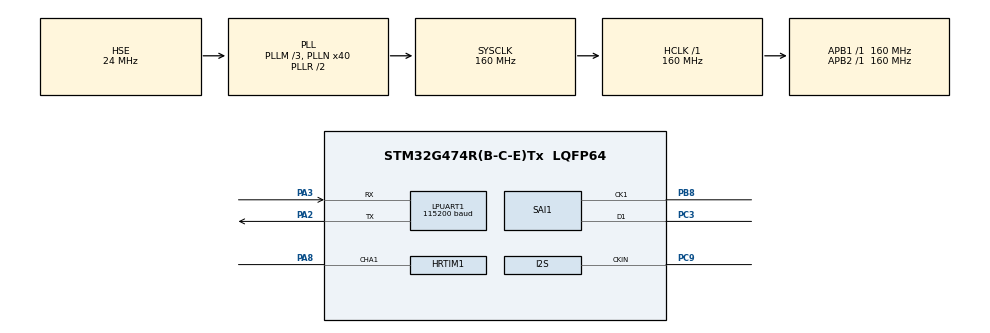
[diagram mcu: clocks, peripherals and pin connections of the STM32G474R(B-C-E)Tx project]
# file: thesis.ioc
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Dma.LPUART1_RX.1.Direction=DMA_PERIPH_TO_MEMORY
Dma.LPUART1_RX.1.EventEnable=DISABLE
Dma.LPUART1_RX.1.Instance=DMA1_Channel2
Dma.LPUART1_RX.1.MemDataAlignment=DMA_MDATAALIGN_BYTE
Dma.LPUART1_RX.1.MemInc=DMA_MINC_ENABLE
Dma.LPUART1_RX.1.Mode=DMA_CIRCULAR
Dma.LPUART1_RX.1.PeriphDataAlignment=DMA_PDATAALIGN_BYTE
Dma.LPUART1_RX.1.PeriphInc=DMA_PINC_DISABLE
Dma.LPUART1_RX.1.Polarity=HAL_DMAMUX_REQ_GEN_RISING
Dma.LPUART1_RX.1.Priority=DMA_PRIORITY_VERY_HIGH
Dma.LPUART1_RX.1.RequestNumber=1
Dma.LPUART1_RX.1.SignalID=NONE
Dma.LPUART1_RX.1.SyncEnable=DISABLE
Dma.LPUART1_RX.1.SyncPolarity=HAL_DMAMUX_SYNC_NO_EVENT
Dma.LPUART1_RX.1.SyncRequestNumber=1
Dma.LPUART1_RX.1.SyncSignalID=NONE
Dma.LPUART1_TX.2.Direction=DMA_MEMORY_TO_PERIPH
Dma.LPUART1_TX.2.EventEnable=DISABLE
Dma.LPUART1_TX.2.Instance=DMA1_Channel3
Dma.LPUART1_TX.2.MemDataAlignment=DMA_MDATAALIGN_BYTE
Dma.LPUART1_TX.2.MemInc=DMA_MINC_ENABLE
Dma.LPUART1_TX.2.Mode=DMA_NORMAL
Dma.LPUART1_TX.2.PeriphDataAlignment=DMA_PDATAALIGN_BYTE
Dma.LPUART1_TX.2.PeriphInc=DMA_PINC_DISABLE
Dma.LPUART1_TX.2.Polarity=HAL_DMAMUX_REQ_GEN_RISING
Dma.LPUART1_TX.2.Priority=DMA_PRIORITY_VERY_HIGH
Dma.LPUART1_TX.2.RequestNumber=1
Dma.LPUART1_TX.2.SignalID=NONE
Dma.LPUART1_TX.2.SyncEnable=DISABLE
Dma.LPUART1_TX.2.SyncPolarity=HAL_DMAMUX_SYNC_NO_EVENT
Dma.LPUART1_TX.2.SyncRequestNumber=1
Dma.LPUART1_TX.2.SyncSignalID=NONE
Dma.Request0=SAI1_A
Dma.Request1=LPUART1_RX
Dma.Request2=LPUART1_TX
Dma.SAI1_A.0.Direction=DMA_PERIPH_TO_MEMORY
Dma.SAI1_A.0.EventEnable=DISABLE
Dma.SAI1_A.0.Instance=DMA1_Channel1
Dma.SAI1_A.0.MemDataAlignment=DMA_MDATAALIGN_HALFWORD
Dma.SAI1_A.0.MemInc=DMA_MINC_ENABLE
Dma.SAI1_A.0.Mode=DMA_CIRCULAR
Dma.SAI1_A.0.PeriphDataAlignment=DMA_PDATAALIGN_HALFWORD
Dma.SAI1_A.0.PeriphInc=DMA_PINC_DISABLE
Dma.SAI1_A.0.Polarity=HAL_DMAMUX_REQ_GEN_RISING
Dma.SAI1_A.0.Priority=DMA_PRIORITY_MEDIUM
Dma.SAI1_A.0.RequestNumber=1
Dma.SAI1_A.0.SignalID=NONE
Dma.SAI1_A.0.SyncEnable=DISABLE
Dma.SAI1_A.0.SyncPolarity=HAL_DMAMUX_SYNC_NO_EVENT
Dma.SAI1_A.0.SyncRequestNumber=1
Dma.SAI1_A.0.SyncSignalID=NONE
FREERTOS.Tasks01=defaultTask,24,128,StartDefaultTask,Default,NULL,Dynamic,NULL,NULL
FREERTOS.configENABLE_FPU=1
FREERTOS.configTOTAL_HEAP_SIZE=20480
HRTIM1.CompareUnit1-Output_TA1=HRTIM_COMPAREUNIT_1
HRTIM1.CompareValue1-Output_TA1=1250
HRTIM1.NumberResetSource1-Output_TA1=1
HRTIM1.NumberSetSource1-Output_TA1=1
HRTIM1.Periode_TA=PERIOD
HRTIM1.ResetOutput1_Source1-Output_TA1=HRTIM_OUTPUTRESET_TIMCMP1
HRTIM1.SetOutput1_Source1-Output_TA1=HRTIM_OUTPUTSET_TIMPER
LPUART1.BaudRate=115200
Mcu.Family=STM32G4
Mcu.Name=STM32G474R(B-C-E)Tx
Mcu.Package=LQFP64
Mcu.UserConstants=TIMA_DUTY_CYCLE,0.5;PERIOD,2500
NUCLEO-G474RE.BUTTON=1
NUCLEO-G474RE.LD2=true
NUCLEO-G474RE.VCP=false
NVIC.DMA1_Channel1_IRQn=true\:5\:0\:true\:false\:true\:true\:false\:true\:true
NVIC.DMA1_Channel2_IRQn=true\:5\:0\:false\:false\:true\:true\:false\:true\:true
NVIC.DMA1_Channel3_IRQn=true\:5\:0\:false\:false\:true\:true\:false\:true\:true
NVIC.EXTI15_10_IRQn=true\:5\:0\:false\:false\:true\:true\:false\:true\:true
NVIC.LPUART1_IRQn=true\:5\:0\:false\:false\:true\:true\:true\:true\:true
NVIC.PriorityGroup=NVIC_PRIORITYGROUP_4
NVIC.TIM6_DAC_IRQn=true\:5\:0\:false\:false\:true\:true\:true\:true\:true
NVIC.TIM7_DAC_IRQn=true\:15\:0\:false\:false\:true\:false\:false\:true\:true
NVIC.TimeBase=TIM7_DAC_IRQn
NVIC.TimeBaseIP=TIM7
PA13.GPIO_Label=T_SWDIO
PA13.Signal=SYS_JTMS-SWDIO
PA14.GPIO_Label=T_SWCLK
PA14.Signal=SYS_JTCK-SWCLK
PA2.Mode=Asynchronous
PA2.Signal=LPUART1_TX
PA3.Mode=Asynchronous
PA3.Signal=LPUART1_RX
PA8.GPIO_Speed_High_Default=GPIO_SPEED_FREQ_LOW
PA8.Mode=Output_TA1
PA8.Signal=HRTIM1_CHA1
PB3.GPIO_Label=T_SWO
PB3.Signal=SYS_JTDO-SWO
PB8-BOOT0.Mode=PDM_Master_Mode_CK1
PB8-BOOT0.Signal=SAI1_CK1
PC14-OSC32_IN.GPIO_Label=RCC_OSC32_IN
PC14-OSC32_IN.Mode=LSE-External-Oscillator
PC14-OSC32_IN.Signal=RCC_OSC32_IN
PC15-OSC32_OUT.GPIO_Label=RCC_OSC32_OUT
PC15-OSC32_OUT.Mode=LSE-External-Oscillator
PC15-OSC32_OUT.Signal=RCC_OSC32_OUT
PC3.Mode=PDM_Master_Mode_CK1
PC3.Signal=SAI1_D1
PC9.Mode=Audio_ClockIn
PC9.Signal=I2S_CKIN
PF0-OSC_IN.GPIO_Label=RCC_OSC_IN
PF0-OSC_IN.Mode=HSE-External-Oscillator
PF0-OSC_IN.Signal=RCC_OSC_IN
PF1-OSC_OUT.GPIO_Label=RCC_OSC_OUT
PF1-OSC_OUT.Mode=HSE-External-Oscillator
PF1-OSC_OUT.Signal=RCC_OSC_OUT
ProjectManager.HeapSize=0x200
ProjectManager.StackSize=0x400
ProjectManager.TargetToolchain=CMake
RCC.ADC12Freq_Value=160000000
RCC.ADC345Freq_Value=160000000
RCC.AHBFreq_Value=160000000
RCC.APB1Freq_Value=160000000
RCC.APB1TimFreq_Value=160000000
RCC.APB2Freq_Value=160000000
RCC.APB2TimFreq_Value=160000000
RCC.CortexFreq_Value=160000000
RCC.EXTERNAL_CLOCK_VALUE=2048000
RCC.HCLKFreq_Value=160000000
RCC.HSE_VALUE=24000000
RCC.HSI48_VALUE=48000000
RCC.HSI_VALUE=16000000
RCC.PLLM=RCC_PLLM_DIV3
RCC.PLLN=40
RCC.PLLQ=RCC_PLLQ_DIV8
RCC.PLLSourceVirtual=RCC_PLLSOURCE_HSE
RCC.RTCClockSelection=RCC_RTCCLKSOURCE_LSE
RCC.SAI1CLockSelection=RCC_SAI1CLKSOURCE_EXT
RCC.SYSCLKFreq_VALUE=160000000
RCC.SYSCLKSource=RCC_SYSCLKSOURCE_PLLCLK
RCC.USBFreq_Value=40000000
RCC.VCOOutputFreq_Value=320000000
SAI1.Activation=ENABLE
SAI1.AudioFrequency-PDM_Master_Mode_CK1=SAI_AUDIO_FREQUENCY_MCKDIV
SAI1.Instance-PDM_Master_Mode_CK1=SAI$Index_Block_A
SAI1.MckOutput-PDM_Master_Mode_CK1=SAI_MCK_OUTPUT_DISABLE
SAI1.VirtualMode-PDM_Master_Mode_CK1=VM_MASTER
SAI1.VirtualProtocol-PDM_Master_Mode_CK1=VM_PDM_PROTOCOL
TIM6.PeriodNoDither=999
TIM6.Prescaler=15999
TIM6.TIM_MasterOutputTrigger=TIM_TRGO_UPDATE
VP_FREERTOS_VS_CMSIS_V2.Mode=CMSIS_V2
VP_NUCLEO-G474RE_VS_BSP_COMMON.Mode=COMMON
VP_SYS_VS_DBSignals.Mode=DisableDeadBatterySignals
VP_SYS_VS_tim7.Mode=TIM7
VP_TIM6_VS_ClockSourceINT.Mode=Enable_Timer
board=NUCLEO-G474RE

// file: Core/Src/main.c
/* USER CODE BEGIN Header */
/**
  ******************************************************************************
  * @file           : main.c
  * @brief          : Main program body
  ******************************************************************************
  * @attention
  *
  * Copyright (c) 2026 STMicroelectronics.
  * All rights reserved.
  *
  * This software is licensed under terms that can be found in the LICENSE file
  * in the root directory of this software component.
  * If no LICENSE file comes with this software, it is provided AS-IS.
  *
  ******************************************************************************
  */
/* USER CODE END Header */
#include "main.h"
#include "cmsis_os.h"
#include "dma.h"
#include "hrtim.h"
#include "usart.h"
#include "tim.h"
#include "gpio.h"

/* USER CODE BEGIN Includes */

#include "cmsis_os2.h"
#include "sai.h"
#include "audio_dsp.h"

/* USER CODE END Includes */

/* USER CODE BEGIN PD */

#define PDM_BUFFER_SIZE 256

/* USER CODE END PD */

/* USER CODE BEGIN PV */

extern osThreadId_t dspTaskHandle;
extern uint16_t pdm_rx_buffer[PDM_BUFFER_SIZE];
extern volatile uint8_t recording_active;

/* USER CODE END PV */

void SystemClock_Config(void);
void MX_FREERTOS_Init(void);

int main(void)
{

  /* MCU Configuration--------------------------------------------------------*/

  /* Reset of all peripherals, Initializes the Flash interface and the Systick. */
  HAL_Init();

  /* Configure the system clock */
  SystemClock_Config();

  /* Initialize all configured peripherals */
  MX_GPIO_Init();
  MX_DMA_Init();
  MX_HRTIM1_Init();
  MX_TIM6_Init();
  MX_LPUART1_UART_Init();
  /* USER CODE BEGIN 2 */

  HAL_HRTIM_WaveformOutputStart(&hhrtim1, HRTIM_OUTPUT_TA1);  // Enable the generation of the waveform signal on the designated output
  HAL_HRTIM_WaveformCounterStart(&hhrtim1, HRTIM_TIMERID_TIMER_A);  // Start the counter of the Timer A operating in waveform mode

  MY_SAI1_Init();  // Initialize the SAI1 peripheral with custom settings

  HAL_TIM_Base_Start_IT(&htim6);

  /* USER CODE END 2 */

  /* Init scheduler */
  osKernelInitialize();  /* Call init function for freertos objects (in cmsis_os2.c) */
  MX_FREERTOS_Init();

  /* Initialize led */
  BSP_LED_Init(LED_GREEN);

  /* Initialize USER push-button, will be used to trigger an interrupt each time it's pressed.*/
  BSP_PB_Init(BUTTON_USER, BUTTON_MODE_EXTI);

  /* Start scheduler */
  osKernelStart();

  /* We should never get here as control is now taken by the scheduler */

  /* Infinite loop */
  while (1) {

  }
}

void SystemClock_Config(void)
{
  RCC_OscInitTypeDef RCC_OscInitStruct = {0};
  RCC_ClkInitTypeDef RCC_ClkInitStruct = {0};

  /** Configure the main internal regulator output voltage
  */
  HAL_PWREx_ControlVoltageScaling(PWR_REGULATOR_VOLTAGE_SCALE1_BOOST);

  /** Initializes the RCC Oscillators according to the specified parameters
  * in the RCC_OscInitTypeDef structure.
  */
  RCC_OscInitStruct.OscillatorType = RCC_OSCILLATORTYPE_HSE;
  RCC_OscInitStruct.HSEState = RCC_HSE_ON;
  RCC_OscInitStruct.PLL.PLLState = RCC_PLL_ON;
  RCC_OscInitStruct.PLL.PLLSource = RCC_PLLSOURCE_HSE;
  RCC_OscInitStruct.PLL.PLLM = RCC_PLLM_DIV3;
  RCC_OscInitStruct.PLL.PLLN = 40;
  RCC_OscInitStruct.PLL.PLLP = RCC_PLLP_DIV2;
  RCC_OscInitStruct.PLL.PLLQ = RCC_PLLQ_DIV8;
  RCC_OscInitStruct.PLL.PLLR = RCC_PLLR_DIV2;
  if (HAL_RCC_OscConfig(&RCC_OscInitStruct) != HAL_OK)
  {
    Error_Handler();
  }

  /** Initializes the CPU, AHB and APB buses clocks
  */
  RCC_ClkInitStruct.ClockType = RCC_CLOCKTYPE_HCLK|RCC_CLOCKTYPE_SYSCLK
                              |RCC_CLOCKTYPE_PCLK1|RCC_CLOCKTYPE_PCLK2;
  RCC_ClkInitStruct.SYSCLKSource = RCC_SYSCLKSOURCE_PLLCLK;
  RCC_ClkInitStruct.AHBCLKDivider = RCC_SYSCLK_DIV1;
  RCC_ClkInitStruct.APB1CLKDivider = RCC_HCLK_DIV1;
  RCC_ClkInitStruct.APB2CLKDivider = RCC_HCLK_DIV1;

  if (HAL_RCC_ClockConfig(&RCC_ClkInitStruct, FLASH_LATENCY_4) != HAL_OK)
  {
    Error_Handler();
  }
}

/* USER CODE BEGIN 4 */

#define FLAG_HALF_CPLT 0x01
#define FLAG_FULL_CPLT 0x02

void HAL_SAI_RxHalfCpltCallback(SAI_HandleTypeDef *hsai)
{
  osThreadFlagsSet(dspTaskHandle, FLAG_HALF_CPLT);
}

void HAL_SAI_RxCpltCallback(SAI_HandleTypeDef *hsai)
{
    osThreadFlagsSet(dspTaskHandle, FLAG_FULL_CPLT);
}

/* USER CODE END 4 */

void HAL_TIM_PeriodElapsedCallback(TIM_HandleTypeDef *htim)
{
  /* USER CODE BEGIN Callback 0 */

  if (htim->Instance == TIM6)
  {
    if (recording_active)
      HAL_GPIO_TogglePin(LED2_GPIO_PORT, LED2_PIN);
    else
      HAL_GPIO_WritePin(LED2_GPIO_PORT, LED2_PIN, GPIO_PIN_RESET);
  }

  /* USER CODE END Callback 0 */
  if (htim->Instance == TIM7)
  {
    HAL_IncTick();
  }
}

void Error_Handler(void)
{
  __disable_irq();
  while (1)
  {
  }
}

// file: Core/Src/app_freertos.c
/* USER CODE BEGIN Header */
/**
  ******************************************************************************
  * File Name          : app_freertos.c
  * Description        : Code for freertos applications
  ******************************************************************************
  * @attention
  *
  * Copyright (c) 2026 STMicroelectronics.
  * All rights reserved.
  *
  * This software is licensed under terms that can be found in the LICENSE file
  * in the root directory of this software component.
  * If no LICENSE file comes with this software, it is provided AS-IS.
  *
  ******************************************************************************
  */
/* USER CODE END Header */

#include "FreeRTOS.h"
#include "task.h"
#include "main.h"
#include "cmsis_os.h"

/* USER CODE BEGIN Includes */

#include "cmsis_os2.h"
#include "audio_dsp.h"
#include <stdint.h>
#include <string.h>
#include "mfcc_tables.h"

#include "ds_cnn.h"
#include "perf.h"
#include <math.h>

#include "usart.h"
#include "uros_app.h"
#include "kws_event.h"

/* USER CODE END Includes */

/* USER CODE BEGIN Variables */

#define FLAG_HALF_CPLT 0x01
#define FLAG_FULL_CPLT 0x02

#define FLAG_RUN_NN 0x01

#define PDM_BUFFER_SIZE 256
#define PCM_SAMPLES_PER_MS 16

#define WINDOW_SIZE_MS 40
#define WINDOW_SIZE (WINDOW_SIZE_MS * PCM_SAMPLES_PER_MS)

#define WINDOW_STRIDE_MS 20
#define WINDOW_STRIDE (WINDOW_STRIDE_MS * PCM_SAMPLES_PER_MS)

#define KWS_CONF_THRESHOLD  0.9f    // minimal probability to accept a command (0..1)
#define KWS_REFRACTORY_MS   1000U   // silent of the same world after recognition [ms]

uint16_t pdm_rx_buffer[PDM_BUFFER_SIZE];
int16_t window[WINDOW_SIZE];

volatile uint32_t window_idx = 0;

// Wskaznik wizualny (dioda przez TIM6 w main.c): 1 = napelniamy ring, 0 = NN obudzony.
volatile uint8_t recording_active = 0;

extern SAI_HandleTypeDef hsai_BlockA1;

osMessageQueueId_t kwsEventQueueHandle;

osThreadId_t dspTaskHandle;
const osThreadAttr_t dspTask_attributes = {
  .name = "dspTask",
  .priority = (osPriority_t) osPriorityHigh,
  .stack_size = 1024
};

osThreadId_t nnTaskHandle;
const osThreadAttr_t nnTask_attributes = {
  .name = "nnTask",
  .priority = (osPriority_t) osPriorityAboveNormal,
  .stack_size = 2048
};

osThreadId_t urosTaskHandle;
const osThreadAttr_t urosTask_attributes = {
  .name = "urosTask",
  .priority = (osPriority_t) osPriorityBelowNormal,
  .stack_size = 3000 * 4
};

static float32_t mfcc_ring[MFCC_N_FRAMES][MFCC_N_DCT];
static volatile uint8_t frame_write = 0;
static volatile uint8_t frame_count = 0;

// Debugging variables
volatile float nn_prob_dbg[OUT_DIM];     // per-class probability 0..1 (order as in kws_event.h)
volatile int   nn_best_dbg;              // index of the most probable class

// Kanaly pomiaru czasu (perf.h). Srednia = sum/count, czas[us] = cykle/160.
perf_ch_t perf_pdm     = { "pdm2pcm" };   // PDM->PCM (ProcessFrame)
perf_ch_t perf_mfcc    = { "mfcc" };      // policzenie MFCC jednej ramki
perf_ch_t perf_dsploop = { "dsp_loop" };  // cala iteracja watku DSP (obrobka 1 chunka)
perf_ch_t perf_snap    = { "nn_snap" };   // kopia ringu w sekcji krytycznej
perf_ch_t perf_bridge  = { "nn_bridge" }; // most float->int8
perf_ch_t perf_run     = { "nn_run" };    // ds_cnn_run (matematyka sieci)
perf_ch_t perf_nnloop  = { "nn_loop" };   // cala iteracja watku NN

/* USER CODE END Variables */
/* Definitions for defaultTask */
osThreadId_t defaultTaskHandle;
const osThreadAttr_t defaultTask_attributes = {
  .name = "defaultTask",
  .priority = (osPriority_t) osPriorityIdle,
  .stack_size = 128 * 4
};

/* USER CODE BEGIN FunctionPrototypes */

void StartDspTask(void *argument);

void StartNNTask(void *argument);

/* USER CODE END FunctionPrototypes */

void StartDefaultTask(void *argument);

void MX_FREERTOS_Init(void); /* (MISRA C 2004 rule 8.1) */

void MX_FREERTOS_Init(void) {

  /* USER CODE BEGIN RTOS_QUEUES */
  /* add queues, ... */

  kwsEventQueueHandle = osMessageQueueNew(8, sizeof(kws_event_t), NULL);

  /* USER CODE END RTOS_QUEUES */

  /* Create the thread(s) */
  /* creation of defaultTask */
  defaultTaskHandle = osThreadNew(StartDefaultTask, NULL, &defaultTask_attributes);

  /* USER CODE BEGIN RTOS_THREADS */
  /* add threads, ... */

  dspTaskHandle = osThreadNew(StartDspTask, NULL, &dspTask_attributes);

  nnTaskHandle = osThreadNew(StartNNTask, NULL, &nnTask_attributes);

  urosTaskHandle = osThreadNew(StartUrosTask, (void *)&hlpuart1, &urosTask_attributes);

  /* USER CODE END RTOS_THREADS */

}

void StartDefaultTask(void *argument)
{
  for(;;)
  {
    osDelay(1);
  }
}

/* USER CODE BEGIN Application */

void StartDspTask(void *argument)
{
  Audio_DSP_Init();  // Initialize the audio DSP processing

  // mfcc_selftest();

  perf_init();

  HAL_SAI_Receive_DMA(&hsai_BlockA1, (uint8_t *)pdm_rx_buffer, PDM_BUFFER_SIZE);
  recording_active = 1;

  int nn_frame_counter = 0;

  for(;;)
  {
    uint32_t flags = osThreadFlagsWait(FLAG_HALF_CPLT | FLAG_FULL_CPLT, osFlagsWaitAny, osWaitForever);

    if (!(flags & (FLAG_HALF_CPLT | FLAG_FULL_CPLT))) continue;

    uint8_t *pdm_chunk_ptr = NULL;

    if (flags & FLAG_HALF_CPLT) {
      pdm_chunk_ptr = (uint8_t *)&pdm_rx_buffer[0];
    }
    else if (flags & FLAG_FULL_CPLT) {
      pdm_chunk_ptr = (uint8_t *)&pdm_rx_buffer[128];
    }

    if (pdm_chunk_ptr != NULL)
    {
      PERF_BEGIN(perf_dsploop);
      PERF_BEGIN(perf_pdm);
      Audio_DSP_ProcessFrame(pdm_chunk_ptr, &window[window_idx]);
      PERF_END(perf_pdm);

      window_idx += PCM_SAMPLES_PER_MS;

      if (window_idx >= WINDOW_SIZE)
      {
        PERF_BEGIN(perf_mfcc);
        mfcc_compute(window, mfcc_ring[frame_write]);
        PERF_END(perf_mfcc);

        frame_write = (frame_write + 1) % MFCC_N_FRAMES;
        if (frame_count < MFCC_N_FRAMES) frame_count++;
        else if (++nn_frame_counter >= 10)
        {
          nn_frame_counter = 0;
          recording_active = 0;   // NN wake up -> led is off
          osThreadFlagsSet(nnTaskHandle, FLAG_RUN_NN);
          // asm volatile ("bkpt #0");   // DEBUG
        }

        memmove(window, &window[WINDOW_STRIDE], (WINDOW_SIZE - WINDOW_STRIDE) * sizeof(int16_t));
        window_idx = WINDOW_SIZE - WINDOW_STRIDE;
      }

      PERF_END(perf_dsploop);

      // HAL_SAI_DMAStop(&hsai_BlockA1);

    }
  }
}

void StartNNTask(void *argument)
{

  static float32_t snap[MFCC_N_FRAMES][MFCC_N_DCT];
  static q7_t nn_in[IN_DIM];
  static q7_t nn_out[OUT_DIM];

  static uint32_t kws_last_seen[OUT_DIM];
  for (int i = 0; i < OUT_DIM; i++)
    kws_last_seen[i] = osKernelGetTickCount() - KWS_REFRACTORY_MS;

  for(;;)
  {
    osThreadFlagsWait(FLAG_RUN_NN, osFlagsWaitAny, osWaitForever);
    PERF_BEGIN(perf_nnloop);

    PERF_BEGIN(perf_snap);
    taskENTER_CRITICAL();
    uint8_t w = frame_write;
    for (int i = 0; i < MFCC_N_FRAMES; i++)
      memcpy(snap[i], mfcc_ring[(w+i) % MFCC_N_FRAMES], sizeof(snap[i]));
    taskEXIT_CRITICAL();
    PERF_END(perf_snap);

    PERF_BEGIN(perf_bridge);
    for (int k = 0; k < IN_DIM; k++)
    {
      int v = lroundf(((float32_t*)snap)[k] * (1 << MFCC_DEC_BITS));
      nn_in[k] = (v > 127) ? 127 : ((v < -128) ? -128 : v);
    }
    PERF_END(perf_bridge);

    PERF_BEGIN(perf_run);
    ds_cnn_run(nn_in, nn_out);
    PERF_END(perf_run);

    // softmax: nn_out is int8 with 1 fractional bit, so logit = nn_out / 2
    int best = 0;
    for (int i = 1; i < OUT_DIM; i++)
      if (nn_out[i] > nn_out[best]) best = i;

    float prob[OUT_DIM], sum = 0.0f;
    for (int i = 0; i < OUT_DIM; i++) {
      prob[i] = expf((nn_out[i] - nn_out[best]) / 2.0f);   // minus max: exp() never overflows
      sum += prob[i];
    }
    for (int i = 0; i < OUT_DIM; i++) {
      prob[i] /= sum;
      nn_prob_dbg[i] = prob[i];
    }
    nn_best_dbg = best;

    if (best >= KWS_GO && prob[best] > KWS_CONF_THRESHOLD) {
      uint32_t now = osKernelGetTickCount();
      uint32_t since_last = now - kws_last_seen[best];
      kws_last_seen[best] = now;

      if (since_last >= KWS_REFRACTORY_MS) {
        kws_event_t ev = { .cmd = (kws_cmd_t)best, .prob = prob[best], .t0 = DWT->CYCCNT };
        osMessageQueuePut(kwsEventQueueHandle, &ev, 0U, 0U);
      }
    }

    PERF_END(perf_nnloop);
    // asm volatile ("bkpt #1");   // DEBUG

  }
}

/* USER CODE END Application */
